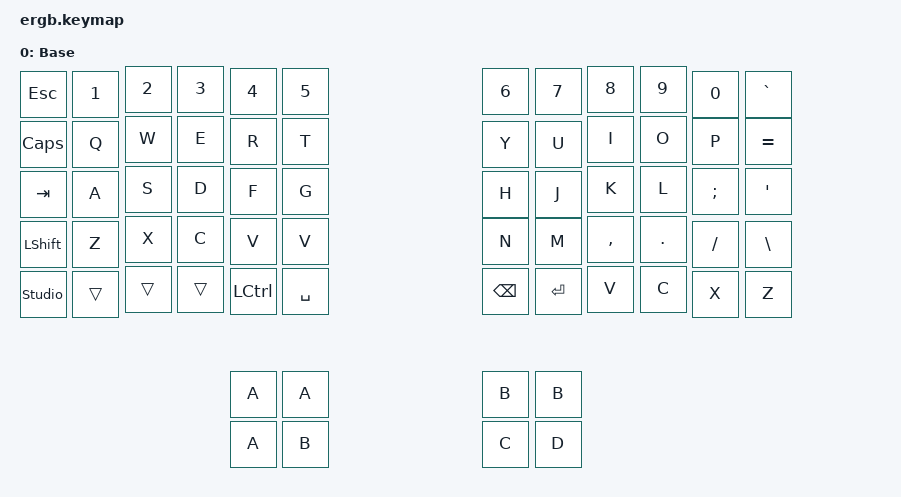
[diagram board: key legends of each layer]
#include <behaviors.dtsi>
#include <dt-bindings/zmk/keys.h>
#include <dt-bindings/zmk/bt.h>
/ {
	keymap {
	  compatible = "zmk,keymap";

	  default_layer {
		display-name = "Base";
		bindings = <
		//---------------------------------------				  -----------------------------------
		//| ESC	  | 1	| 2	  | 3	| 4	  | 5	|				  | Y	|	  |		|	  | 	|	|
		//|	TAB	  | Q	| W	  | E	| R	  | T	|				  |		|	  |		|	  | 	|	|
		//| TL1	  | A	| S	  | D	| F	  | G	|				  |		|	  |		|	  |		|	|
		//|	LSHFT | Z	| X	  | C	| V	  | B	|				  |		|	  |		|	  |		|	|
		//|	LCTRL | ALT	| NIL | NIL | SPC | RSHT|				  |		|	  |		|	  |		|	|
		//|				|LCTRL|	ALT	| NIL |	NIL	|				  |		|	  |		|	  |		|	|
		//|--------------------------------------				  |---------------------------------|
		  &kp ESC &kp N1 &kp N2 &kp N3 &kp N4 &kp N5			  &kp N6 &kp N7 &kp N8 &kp N9 &kp N0 &kp GRAVE
		  &kp CAPS &kp Q &kp W &kp E &kp R &kp T				  &kp Y &kp U &kp I &kp O &kp P &kp EQUAL
		  &kp TAB &kp A &kp S &kp D &kp F &kp G					  &kp H &kp J &kp K &kp L &kp SEMICOLON &kp APOS
		  &kp LSHIFT &kp Z &kp X &kp C &kp V &kp V				  &kp N &kp M &kp COMMA &kp PERIOD &kp SLASH &kp BSLH
		  &studio_unlock &trans &trans &trans &kp LCTRL &kp SPACE &kp BACKSPACE &kp ENTER &kp V &kp C &kp X &kp Z
									  &kp A &kp A				  &kp A &kp B
									  &kp B &kp B				  &kp C &kp D
		>;
	  };
  };
};
